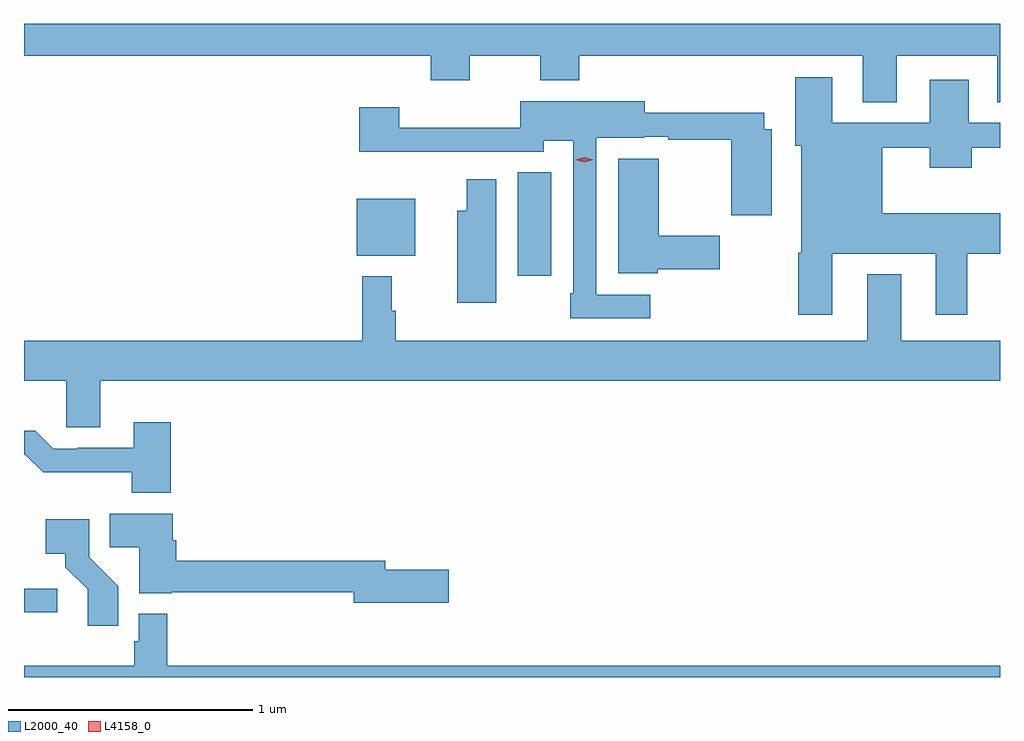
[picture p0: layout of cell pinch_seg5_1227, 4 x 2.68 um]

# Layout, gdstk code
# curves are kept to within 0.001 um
import gdstk
lib = gdstk.Library(unit=1e-6, precision=1e-09)
def R(c, l, rs):  # rectangles x0, y0, x1, y1
    for r in rs: c.add(gdstk.rectangle(r[:2], r[2:], *l))
def P(c, l, *ps):  # polygons
    for p in ps: c.add(gdstk.Polygon(p, *l))
L2000_40 = (2000, 40)
L4158_0 = (4158, 0)

pinch_seg5_1227 = lib.new_cell('pinch_seg5_1227')
R(pinch_seg5_1227, L2000_40, [(405.528,913.087,405.664,913.185), (407.552,914.466,407.689,914.891), (406.892,914.549,407.131,914.782)])
P(pinch_seg5_1227, L2000_40, [(409.105,915.368),(409.517,915.368),(409.517,915.178),(409.528,915.178),(409.528,915.5),(405.528,915.5),(405.528,915.368),(407.195,915.368),(407.195,915.269),(407.355,915.269),(407.355,915.368),(407.644,915.368),(407.644,915.269),(407.804,915.269),(407.804,915.368),(408.965,915.368),(408.965,915.178),(409.105,915.178)],
  [(408.841,914.558),(409.265,914.558),(409.265,914.307),(409.393,914.307),(409.393,914.558),(409.528,914.558),(409.528,914.722),(409.045,914.722),(409.045,914.992),(409.241,914.992),(409.241,914.909),(409.412,914.909),(409.412,914.992),(409.528,914.992),(409.528,915.093),(409.399,915.093),(409.399,915.271),(409.241,915.271),(409.241,915.093),(408.841,915.093),(408.841,915.28),(408.689,915.28),(408.689,915),(408.713,915),(408.713,914.562),(408.701,914.562),(408.701,914.307),(408.841,914.307)],
  [(408.094,914.388),(407.874,914.388),(407.874,915.032),(408.069,915.032),(408.069,915.036),(408.169,915.036),(408.169,915.024),(408.427,915.024),(408.427,914.715),(408.592,914.715),(408.592,915.067),(408.562,915.067),(408.562,915.135),(408.073,915.135),(408.073,915.181),(407.562,915.181),(407.562,915.074),(407.066,915.074),(407.066,915.157),(406.901,915.157),(406.901,914.975),(407.149,914.975),(407.149,914.976),(407.658,914.976),(407.658,915.02),(407.778,915.02),(407.778,914.395),(407.766,914.395),(407.766,914.292),(408.094,914.292)],
  [(408.126,914.494),(408.379,914.494),(408.379,914.631),(408.13,914.631),(408.13,914.947),(407.963,914.947),(407.963,914.477),(408.126,914.477)],
  [(407.464,914.863),(407.342,914.863),(407.342,914.734),(407.303,914.734),(407.303,914.357),(407.464,914.357)],
  [(405.841,914.036),(409.528,914.036),(409.528,914.2),(409.123,914.2),(409.123,914.473),(408.983,914.473),(408.983,914.2),(407.051,914.2),(407.051,914.324),(407.036,914.324),(407.036,914.464),(406.915,914.464),(406.915,914.2),(405.528,914.2),(405.528,914.036),(405.702,914.036),(405.702,913.846),(405.841,913.846)],
  [(406.13,913.867),(405.977,913.867),(405.977,913.761),(405.748,913.761),(405.748,913.758),(405.648,913.758),(405.575,913.831),(405.528,913.831),(405.528,913.734),(405.534,913.734),(405.607,913.661),(405.97,913.662),(405.97,913.577),(406.13,913.577)],
  [(407.269,913.262),(407.008,913.262),(407.008,913.298),(406.151,913.298),(406.151,913.382),(406.138,913.382),(406.138,913.492),(405.88,913.492),(405.88,913.354),(406.001,913.354),(406.001,913.166),(406.134,913.166),(406.134,913.17),(406.88,913.17),(406.88,913.127),(407.269,913.127)],
  [(405.914,913.194),(405.795,913.313),(405.795,913.468),(405.618,913.468),(405.618,913.328),(405.698,913.328),(405.698,913.273),(405.789,913.183),(405.789,913.032),(405.914,913.032)],
  [(409.528,912.868),(406.115,912.868),(406.115,913.081),(405.999,913.081),(405.999,912.969),(405.979,912.969),(405.979,912.868),(405.528,912.868),(405.528,912.821),(409.528,912.821)])
P(pinch_seg5_1227, L4158_0, [(407.825,914.933),(407.79,914.943),(407.79,914.943),(407.79,914.943),(407.825,914.953),(407.86,914.943),(407.86,914.943),(407.86,914.943)])

lib.write_gds('pinch_seg5_1227.gds')
